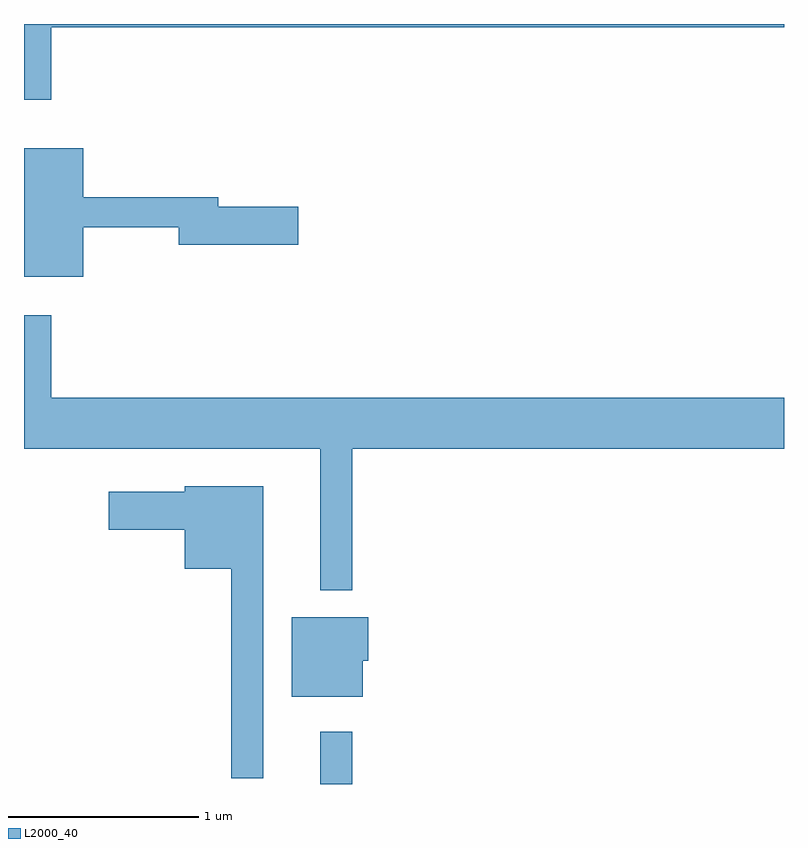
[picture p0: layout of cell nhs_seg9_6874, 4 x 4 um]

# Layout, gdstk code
import gdstk
lib = gdstk.Library(unit=1e-6, precision=1e-09)
def R(c, l, rs):  # rectangles x0, y0, x1, y1
    for r in rs: c.add(gdstk.rectangle(r[:2], r[2:], *l))
def P(c, l, *ps):  # polygons
    for p in ps: c.add(gdstk.Polygon(p, *l))
L2000_40 = (2000, 40)

nhs_seg9_6874 = lib.new_cell('nhs_seg9_6874')
R(nhs_seg9_6874, L2000_40, [(389.171,2054.432,389.339,2054.708)])
P(nhs_seg9_6874, L2000_40, [(387.754,2058.416),(391.611,2058.416),(391.611,2058.432),(387.611,2058.432),(387.611,2058.033),(387.754,2058.033)],
  [(387.924,2057.361),(388.426,2057.361),(388.426,2057.271),(389.054,2057.271),(389.054,2057.469),(388.634,2057.469),(388.634,2057.519),(387.924,2057.519),(387.924,2057.779),(387.611,2057.779),(387.611,2057.101),(387.924,2057.101)],
  [(389.339,2056.196),(391.611,2056.196),(391.611,2056.464),(387.754,2056.464),(387.754,2056.898),(387.611,2056.898),(387.611,2056.196),(389.171,2056.196),(389.171,2055.452),(389.339,2055.452)],
  [(388.869,2055.999),(388.456,2055.999),(388.456,2055.969),(388.056,2055.969),(388.056,2055.771),(388.456,2055.771),(388.456,2055.566),(388.701,2055.566),(388.701,2054.463),(388.869,2054.463)],
  [(389.394,2055.081),(389.424,2055.081),(389.424,2055.309),(389.021,2055.309),(389.021,2054.891),(389.394,2054.891)])

lib.write_gds('nhs_seg9_6874.gds')
